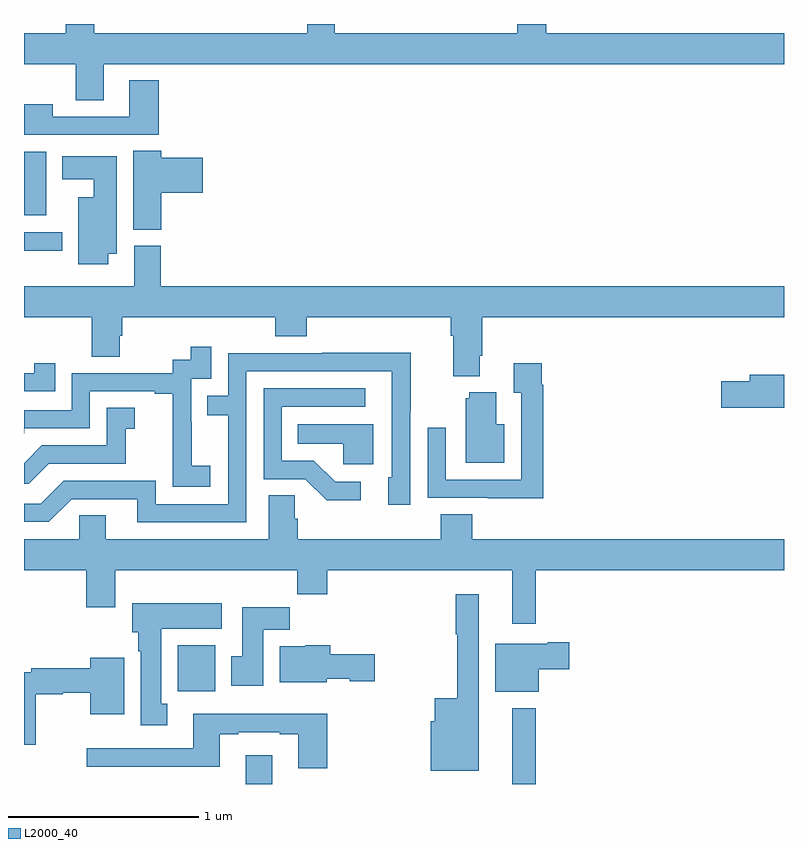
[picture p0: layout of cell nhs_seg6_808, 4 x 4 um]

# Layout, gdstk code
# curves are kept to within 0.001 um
import gdstk
lib = gdstk.Library(unit=1e-6, precision=1e-09)
def R(c, l, rs):  # rectangles x0, y0, x1, y1
    for r in rs: c.add(gdstk.rectangle(r[:2], r[2:], *l))
def P(c, l, *ps):  # polygons
    for p in ps: c.add(gdstk.Polygon(p, *l))
L2000_40 = (2000, 40)

nhs_seg6_808 = lib.new_cell('nhs_seg6_808')
R(nhs_seg6_808, L2000_40, [(162.167,991.5,162.307,991.651), (163.571,991.5,163.693,991.9), (161.81,991.988,162.007,992.23), (161,994.307,161.2,994.404), (161,994.493,161.116,994.828)])
P(nhs_seg6_808, L2000_40, [(161.419,995.288),(165,995.288),(165,995.452),(163.748,995.452),(163.748,995.5),(163.595,995.5),(163.595,995.452),(162.635,995.452),(162.635,995.5),(162.491,995.5),(162.491,995.452),(161.371,995.452),(161.371,995.5),(161.219,995.5),(161.219,995.452),(161,995.452),(161,995.288),(161.272,995.288),(161.272,995.098),(161.419,995.098)],
  [(161.708,995.203),(161.555,995.203),(161.555,995.013),(161.151,995.013),(161.151,995.077),(161,995.077),(161,994.917),(161.708,994.917)],
  [(161.723,994.613),(161.941,994.613),(161.941,994.796),(161.723,994.796),(161.723,994.832),(161.576,994.832),(161.576,994.417),(161.723,994.417)],
  [(161.443,994.292),(161.488,994.292),(161.488,994.804),(161.201,994.804),(161.201,994.682),(161.366,994.682),(161.366,994.588),(161.285,994.588),(161.285,994.236),(161.443,994.236)],
  [(161.72,994.332),(161.579,994.332),(161.579,994.12),(161,994.12),(161,993.956),(161.356,993.956),(161.356,993.748),(161.503,993.748),(161.503,993.858),(161.516,993.858),(161.516,993.956),(162.323,993.956),(162.323,993.857),(162.488,993.857),(162.488,993.956),(163.247,993.956),(163.247,993.86),(163.259,993.86),(163.259,993.647),(163.399,993.647),(163.399,993.754),(163.412,993.754),(163.412,993.956),(165,993.956),(165,994.12),(161.72,994.12)],
  [(161.98,993.175),(161.882,993.175),(161.882,993.404),(161.88,993.404),(161.88,993.633),(161.985,993.633),(161.985,993.802),(161.877,993.802),(161.877,993.732),(161.784,993.732),(161.784,993.663),(161.25,993.663),(161.25,993.468),(161,993.468),(161,993.345),(161.001,993.345),(161.001,993.372),(161.346,993.372),(161.346,993.567),(161.687,993.567),(161.687,993.555),(161.783,993.555),(161.783,993.271),(161.782,993.271),(161.782,993.065),(161.98,993.065)],
  [(162.171,993.672),(162.935,993.672),(162.936,993.114),(162.917,993.114),(162.917,992.97),(163.032,992.97),(163.032,993.463),(163.035,993.463),(163.035,993.77),(162.571,993.77),(162.571,993.768),(162.075,993.768),(162.075,993.543),(161.965,993.543),(161.965,993.442),(162.075,993.442),(162.075,992.973),(161.694,992.973),(161.694,993.096),(161.208,993.096),(161.088,992.976),(161,992.976),(161,992.88),(161.13,992.88),(161.25,993),(161.597,993),(161.597,992.877),(162.171,992.877)],
  [(161.165,993.715),(161.054,993.715),(161.054,993.663),(161,993.663),(161,993.567),(161.165,993.567)],
  [(163.733,993.602),(163.726,993.602),(163.726,993.715),(163.577,993.715),(163.577,993.559),(163.617,993.559),(163.617,993.102),(163.221,993.102),(163.221,993.376),(163.125,993.376),(163.125,993.006),(163.441,993.006),(163.441,993.005),(163.733,993.005)],
  [(165,993.655),(164.819,993.655),(164.819,993.621),(164.67,993.621),(164.67,993.479),(165,993.479)],
  [(162.772,993.09),(162.637,993.09),(162.526,993.201),(162.357,993.201),(162.357,993.486),(162.796,993.486),(162.796,993.582),(162.261,993.582),(162.261,993.105),(162.48,993.105),(162.593,992.993),(162.772,992.993)],
  [(163.528,993.394),(163.486,993.394),(163.486,993.562),(163.343,993.562),(163.343,993.531),(163.325,993.531),(163.325,993.191),(163.528,993.191)],
  [(161.131,993.186),(161.535,993.186),(161.535,993.371),(161.584,993.371),(161.584,993.481),(161.436,993.481),(161.436,993.282),(161.094,993.282),(161,993.188),(161,993.081),(161.026,993.081)],
  [(162.838,993.394),(162.442,993.394),(162.442,993.29),(162.681,993.29),(162.681,993.182),(162.838,993.182)],
  [(163.693,992.624),(165,992.624),(165,992.788),(163.358,992.788),(163.358,992.921),(163.193,992.921),(163.193,992.788),(162.44,992.788),(162.44,992.897),(162.426,992.897),(162.426,993.02),(162.287,993.02),(162.287,992.788),(161.431,992.788),(161.431,992.915),(161.292,992.915),(161.292,992.788),(161,992.788),(161,992.624),(161.327,992.624),(161.327,992.43),(161.479,992.43),(161.479,992.624),(162.439,992.624),(162.439,992.5),(162.596,992.5),(162.596,992.624),(163.571,992.624),(163.571,992.343),(163.693,992.343)],
  [(163.393,992.5),(163.272,992.5),(163.272,992.287),(163.279,992.287),(163.279,991.951),(163.163,991.951),(163.163,991.83),(163.142,991.83),(163.142,991.571),(163.393,991.571)],
  [(161.755,991.922),(161.722,991.922),(161.722,992.318),(162.04,992.318),(162.04,992.452),(161.57,992.452),(161.57,992.298),(161.6,992.298),(161.6,992.198),(161.615,992.198),(161.615,991.809),(161.755,991.809)],
  [(162.259,992.312),(162.398,992.312),(162.398,992.431),(162.149,992.431),(162.149,992.172),(162.092,992.172),(162.092,992.016),(162.259,992.016)],
  [(163.708,992.105),(163.87,992.105),(163.87,992.247),(163.757,992.247),(163.757,992.239),(163.481,992.239),(163.481,991.985),(163.708,991.985)],
  [(162.594,992.054),(162.714,992.054),(162.714,992.042),(162.847,992.042),(162.847,992.184),(162.611,992.184),(162.611,992.23),(162.48,992.23),(162.48,992.224),(162.347,992.224),(162.347,992.036),(162.594,992.036)],
  [(161.062,991.972),(161.205,991.972),(161.205,991.98),(161.348,991.98),(161.348,991.868),(161.527,991.868),(161.527,992.164),(161.348,992.164),(161.348,992.108),(161.038,992.108),(161.038,992.088),(161,992.088),(161,991.707),(161.062,991.707)],
  [(162.596,991.87),(161.891,991.87),(161.891,991.689),(161.331,991.689),(161.331,991.592),(162.031,991.592),(162.031,991.761),(162.127,991.761),(162.127,991.773),(162.347,991.773),(162.347,991.761),(162.443,991.761),(162.443,991.584),(162.596,991.584)])

lib.write_gds('nhs_seg6_808.gds')
